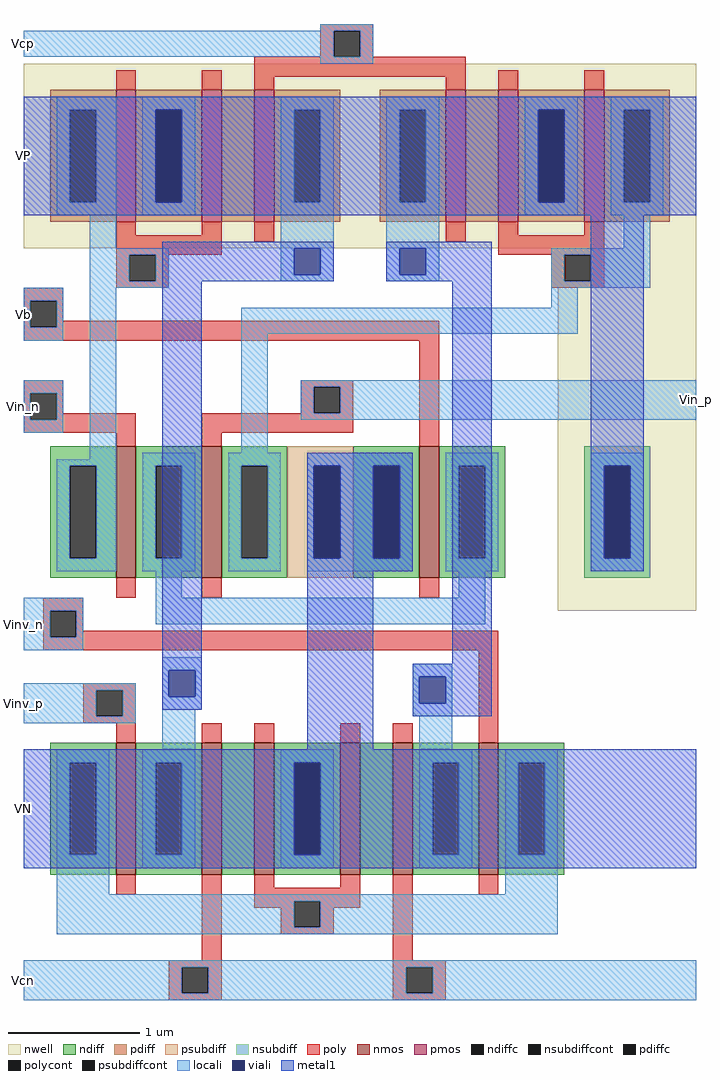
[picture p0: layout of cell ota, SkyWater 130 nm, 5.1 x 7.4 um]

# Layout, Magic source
magic
tech sky130A
<< nwell >>
rect -130 225 380 365
rect 270 195 380 225
rect 275 -50 380 195
<< nmos >>
rect -60 -25 -45 75
rect 5 -25 20 75
rect 170 -25 185 75
rect -60 -250 -45 -150
rect 5 -250 20 -150
rect 45 -250 60 -150
rect 110 -250 125 -150
rect 150 -250 165 -150
rect 215 -250 230 -150
<< pmos >>
rect -60 245 -45 345
rect 5 245 20 345
rect 45 245 60 345
rect 190 245 205 345
rect 230 245 245 345
rect 295 245 310 345
<< ndiff >>
rect -110 60 -60 75
rect -110 -10 -95 60
rect -75 -10 -60 60
rect -110 -25 -60 -10
rect -45 60 5 75
rect -45 -10 -30 60
rect -10 -10 5 60
rect -45 -25 5 -10
rect 20 60 70 75
rect 120 60 170 75
rect 20 -10 35 60
rect 55 -10 70 60
rect 120 -10 135 60
rect 155 -10 170 60
rect 20 -25 70 -10
rect 120 -25 170 -10
rect 185 60 235 75
rect 185 -10 200 60
rect 220 -10 235 60
rect 185 -25 235 -10
rect -110 -165 -60 -150
rect -110 -235 -95 -165
rect -75 -235 -60 -165
rect -110 -250 -60 -235
rect -45 -165 5 -150
rect -45 -235 -30 -165
rect -10 -235 5 -165
rect -45 -250 5 -235
rect 20 -250 45 -150
rect 60 -165 110 -150
rect 60 -235 75 -165
rect 95 -235 110 -165
rect 60 -250 110 -235
rect 125 -250 150 -150
rect 165 -165 215 -150
rect 165 -235 180 -165
rect 200 -235 215 -165
rect 165 -250 215 -235
rect 230 -165 280 -150
rect 230 -235 245 -165
rect 265 -235 280 -165
rect 230 -250 280 -235
<< pdiff >>
rect -110 330 -60 345
rect -110 260 -95 330
rect -75 260 -60 330
rect -110 245 -60 260
rect -45 330 5 345
rect -45 260 -30 330
rect -10 260 5 330
rect -45 245 5 260
rect 20 245 45 345
rect 60 330 110 345
rect 60 260 75 330
rect 95 260 110 330
rect 60 245 110 260
rect 140 330 190 345
rect 140 260 155 330
rect 175 260 190 330
rect 140 245 190 260
rect 205 245 230 345
rect 245 330 295 345
rect 245 260 260 330
rect 280 260 295 330
rect 245 245 295 260
rect 310 330 360 345
rect 310 260 325 330
rect 345 260 360 330
rect 310 245 360 260
<< ndiffc >>
rect -95 -10 -75 60
rect -30 -10 -10 60
rect 35 -10 55 60
rect 135 -10 155 60
rect 200 -10 220 60
rect -95 -235 -75 -165
rect -30 -235 -10 -165
rect 75 -235 95 -165
rect 180 -235 200 -165
rect 245 -235 265 -165
<< pdiffc >>
rect -95 260 -75 330
rect -30 260 -10 330
rect 75 260 95 330
rect 155 260 175 330
rect 260 260 280 330
rect 325 260 345 330
<< psubdiff >>
rect 70 60 120 75
rect 70 -10 90 60
rect 110 -10 120 60
rect 70 -25 120 -10
<< nsubdiff >>
rect 295 60 345 75
rect 295 -10 310 60
rect 330 -10 345 60
rect 295 -25 345 -10
<< psubdiffcont >>
rect 90 -10 110 60
<< nsubdiffcont >>
rect 310 -10 330 60
<< poly >>
rect 95 390 135 395
rect 95 370 105 390
rect 125 370 135 390
rect -60 345 -45 360
rect 5 345 20 360
rect 45 355 205 370
rect 45 345 60 355
rect 190 345 205 355
rect 230 345 245 360
rect 295 345 310 360
rect -60 235 -45 245
rect 5 235 20 245
rect -60 220 20 235
rect 45 230 60 245
rect 190 230 205 245
rect 230 235 245 245
rect 295 235 310 245
rect 230 220 310 235
rect -60 200 -50 220
rect -30 200 -20 220
rect -60 195 -20 200
rect 270 200 280 220
rect 300 200 310 220
rect 270 195 310 200
rect -130 185 -100 195
rect -130 165 -125 185
rect -105 170 -100 185
rect -105 165 185 170
rect -130 155 185 165
rect -130 115 -100 125
rect -130 95 -125 115
rect -105 100 -100 115
rect 80 120 120 125
rect 80 100 90 120
rect 110 100 120 120
rect -105 95 -45 100
rect -130 85 -45 95
rect -60 75 -45 85
rect 5 85 120 100
rect 5 75 20 85
rect 170 75 185 155
rect -60 -40 -45 -25
rect 5 -40 20 -25
rect 170 -40 185 -25
rect -115 -50 -85 -40
rect -115 -70 -110 -50
rect -90 -65 -85 -50
rect -90 -70 230 -65
rect -115 -80 230 -70
rect -85 -110 -45 -105
rect -85 -130 -75 -110
rect -55 -130 -45 -110
rect -85 -135 -45 -130
rect -60 -150 -45 -135
rect 5 -150 20 -135
rect 45 -150 60 -135
rect 110 -150 125 -135
rect 150 -150 165 -135
rect 215 -150 230 -80
rect -60 -265 -45 -250
rect 5 -315 20 -250
rect 45 -260 60 -250
rect 110 -260 125 -250
rect 45 -270 125 -260
rect 45 -275 75 -270
rect 65 -290 75 -275
rect 95 -275 125 -270
rect 95 -290 105 -275
rect 65 -295 105 -290
rect -20 -320 20 -315
rect -20 -340 -10 -320
rect 10 -340 20 -320
rect -20 -345 20 -340
rect 150 -315 165 -250
rect 215 -265 230 -250
rect 150 -320 190 -315
rect 150 -340 160 -320
rect 180 -340 190 -320
rect 150 -345 190 -340
<< polycont >>
rect 105 370 125 390
rect -50 200 -30 220
rect 280 200 300 220
rect -125 165 -105 185
rect -125 95 -105 115
rect 90 100 110 120
rect -110 -70 -90 -50
rect -75 -130 -55 -110
rect 75 -290 95 -270
rect -10 -340 10 -320
rect 160 -340 180 -320
<< locali >>
rect 95 390 135 395
rect -130 370 105 390
rect 125 370 135 390
rect 95 365 135 370
rect -105 330 -60 340
rect -105 260 -95 330
rect -75 260 -60 330
rect -105 250 -60 260
rect -40 330 0 340
rect -40 260 -30 330
rect -10 260 0 330
rect -40 250 0 260
rect 65 330 105 340
rect 65 260 75 330
rect 95 260 105 330
rect -80 225 -60 250
rect 65 225 105 260
rect -80 220 -20 225
rect -80 200 -50 220
rect -30 200 -20 220
rect 65 205 75 225
rect 95 205 105 225
rect 65 200 105 205
rect 145 330 185 340
rect 145 260 155 330
rect 175 260 185 330
rect 145 225 185 260
rect 250 330 290 340
rect 250 260 260 330
rect 280 260 290 330
rect 250 250 290 260
rect 315 330 355 340
rect 315 260 325 330
rect 345 260 355 330
rect 315 250 355 260
rect 325 225 345 250
rect 145 205 155 225
rect 175 205 185 225
rect 145 200 185 205
rect 270 220 345 225
rect 270 200 280 220
rect 300 200 345 220
rect -80 195 -20 200
rect 270 195 345 200
rect -130 185 -100 195
rect -130 165 -125 185
rect -105 165 -100 185
rect -130 155 -100 165
rect -130 115 -100 125
rect -130 95 -125 115
rect -105 95 -100 115
rect -130 85 -100 95
rect -80 65 -60 195
rect 270 180 290 195
rect 35 160 290 180
rect 35 70 55 160
rect 80 120 380 125
rect 80 100 90 120
rect 110 100 380 120
rect 80 95 380 100
rect -105 60 -60 65
rect -105 -10 -95 60
rect -75 -10 -60 60
rect -105 -20 -60 -10
rect -40 60 0 70
rect -40 -10 -30 60
rect -10 -10 0 60
rect -40 -20 0 -10
rect 25 60 65 70
rect 25 -10 35 60
rect 55 -10 65 60
rect 25 -20 65 -10
rect 85 60 165 70
rect 85 -10 90 60
rect 110 -10 135 60
rect 155 -10 165 60
rect 85 -20 165 -10
rect 190 60 230 70
rect 190 -10 200 60
rect 220 -10 230 60
rect 190 -20 230 -10
rect 300 60 340 70
rect 300 -10 310 60
rect 330 -10 340 60
rect 300 -20 340 -10
rect -30 -40 -10 -20
rect 200 -40 220 -20
rect -130 -50 -85 -40
rect -130 -70 -110 -50
rect -90 -70 -85 -50
rect -30 -60 220 -40
rect -130 -80 -85 -70
rect -25 -95 5 -85
rect -130 -110 -45 -105
rect -130 -130 -75 -110
rect -55 -130 -45 -110
rect -130 -135 -45 -130
rect -25 -115 -20 -95
rect 0 -115 5 -95
rect -25 -125 5 -115
rect 165 -100 195 -90
rect 165 -120 170 -100
rect 190 -120 195 -100
rect -25 -155 0 -125
rect 165 -130 195 -120
rect 170 -155 195 -130
rect -105 -165 -65 -155
rect -105 -235 -95 -165
rect -75 -235 -65 -165
rect -105 -265 -65 -235
rect -40 -165 0 -155
rect -40 -235 -30 -165
rect -10 -235 0 -165
rect -40 -245 0 -235
rect 65 -165 105 -155
rect 65 -235 75 -165
rect 95 -235 105 -165
rect 65 -245 105 -235
rect 170 -165 210 -155
rect 170 -235 180 -165
rect 200 -235 210 -165
rect 170 -245 210 -235
rect 235 -165 275 -155
rect 235 -235 245 -165
rect 265 -235 275 -165
rect 235 -265 275 -235
rect -105 -270 275 -265
rect -105 -290 75 -270
rect 95 -290 275 -270
rect -105 -295 275 -290
rect -130 -320 380 -315
rect -130 -340 -10 -320
rect 10 -340 160 -320
rect 180 -340 380 -320
rect -130 -345 380 -340
<< viali >>
rect -30 260 -10 330
rect 75 205 95 225
rect 260 260 280 330
rect 155 205 175 225
rect 90 -10 110 60
rect 135 -10 155 60
rect 310 -10 330 60
rect -20 -115 0 -95
rect 170 -120 190 -100
rect 75 -235 95 -165
<< metal1 >>
rect -130 330 380 340
rect -130 260 -30 330
rect -10 260 260 330
rect 280 260 380 330
rect -130 250 380 260
rect -25 225 105 230
rect -25 205 75 225
rect 95 205 105 225
rect -25 200 105 205
rect 145 225 225 230
rect 145 205 155 225
rect 175 205 225 225
rect 145 200 225 205
rect -25 -95 5 200
rect -25 -115 -20 -95
rect 0 -115 5 -95
rect -25 -125 5 -115
rect 85 60 165 70
rect 85 -10 90 60
rect 110 -10 135 60
rect 155 -10 165 60
rect 85 -20 165 -10
rect 85 -155 135 -20
rect 195 -90 225 200
rect 300 60 340 250
rect 300 -10 310 60
rect 330 -10 340 60
rect 300 -20 340 -10
rect 165 -100 225 -90
rect 165 -120 170 -100
rect 190 -120 225 -100
rect 165 -130 225 -120
rect -130 -165 380 -155
rect -130 -235 75 -165
rect 95 -235 380 -165
rect -130 -245 380 -235
<< labels >>
rlabel locali -130 -60 -130 -60 7 Vinv_n
port 5 w
rlabel locali -130 -120 -130 -120 7 Vinv_p
port 6 w
rlabel metal1 -130 -200 -130 -200 7 VN
port 7 w
rlabel locali -130 -330 -130 -330 7 Vcn
port 8 w
rlabel locali -130 380 -130 380 7 Vcp
port 1 w
rlabel metal1 -130 295 -130 295 7 VP
port 2 w
rlabel locali -130 175 -130 175 7 Vb
port 3 w
rlabel locali -130 105 -130 105 7 Vin_n
port 4 w
rlabel locali 380 110 380 110 3 Vin_p
port 9 e
<< end >>
